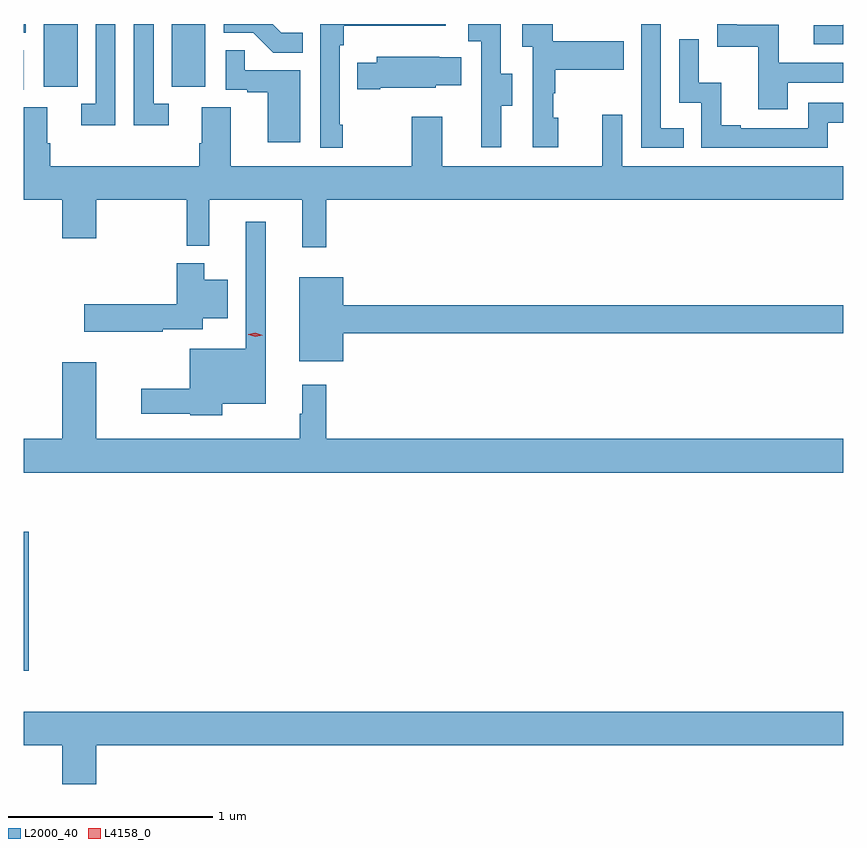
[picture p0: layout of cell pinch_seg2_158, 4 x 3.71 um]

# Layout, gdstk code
import gdstk
lib = gdstk.Library(unit=1e-6, precision=1e-09)
def R(c, l, rs):  # rectangles x0, y0, x1, y1
    for r in rs: c.add(gdstk.rectangle(r[:2], r[2:], *l))
def P(c, l, *ps):  # polygons
    for p in ps: c.add(gdstk.Polygon(p, *l))
L2000_40 = (2000, 40)
L4158_0 = (4158, 0)

pinch_seg2_158 = lib.new_cell('pinch_seg2_158')
R(pinch_seg2_158, L2000_40, [(1123.859,628.02,1123.883,628.7), (1123.859,630.855,1123.86,631.049), (1123.958,630.87,1124.122,631.177), (1124.582,630.87,1124.746,631.177), (1123.859,631.134,1123.869,631.177)])
P(pinch_seg2_158, L2000_40, [(1127.081,630.669),(1126.968,630.669),(1126.968,631.177),(1126.872,631.177),(1126.872,630.573),(1127.081,630.573)],
  [(1125.415,630.685),(1125.402,630.685),(1125.402,631.073),(1125.422,631.073),(1125.422,631.169),(1125.918,631.169),(1125.918,631.177),(1125.306,631.177),(1125.306,630.573),(1125.415,630.573)],
  [(1126.468,630.72),(1126.443,630.72),(1126.443,630.839),(1126.453,630.839),(1126.453,630.953),(1126.787,630.953),(1126.787,631.093),(1126.44,631.093),(1126.44,631.177),(1126.293,631.177),(1126.293,631.067),(1126.344,631.067),(1126.344,630.576),(1126.468,630.576)],
  [(1126.189,630.778),(1126.243,630.778),(1126.243,630.933),(1126.188,630.933),(1126.188,631.177),(1126.029,631.177),(1126.029,631.093),(1126.092,631.093),(1126.092,630.789),(1126.091,630.789),(1126.091,630.576),(1126.189,630.576)],
  [(1127.587,630.891),(1127.859,630.891),(1127.859,630.987),(1127.545,630.987),(1127.545,631.173),(1127.34,631.173),(1127.34,631.177),(1127.244,631.177),(1127.244,631.065),(1127.443,631.065),(1127.443,630.762),(1127.587,630.762)],
  [(1125.221,631.135),(1125.117,631.135),(1125.075,631.177),(1124.835,631.177),(1124.835,631.134),(1124.979,631.134),(1125.077,631.036),(1125.221,631.036)],
  [(1124.307,631.177),(1124.211,631.177),(1124.211,630.789),(1124.139,630.789),(1124.139,630.684),(1124.307,630.684)],
  [(1124.566,630.789),(1124.493,630.789),(1124.493,631.177),(1124.397,631.177),(1124.397,630.684),(1124.566,630.684)],
  [(1127.859,631.173),(1127.856,631.17),(1127.715,631.17),(1127.715,631.077),(1127.859,631.077)],
  [(1127.784,630.696),(1127.859,630.696),(1127.859,630.792),(1127.688,630.792),(1127.688,630.669),(1127.359,630.669),(1127.359,630.682),(1127.264,630.682),(1127.264,630.89),(1127.154,630.89),(1127.154,631.102),(1127.058,631.102),(1127.058,630.792),(1127.166,630.792),(1127.166,630.573),(1127.784,630.573)],
  [(1125.208,630.951),(1124.939,630.951),(1124.939,631.049),(1124.844,631.049),(1124.844,630.855),(1124.951,630.855),(1124.951,630.843),(1125.05,630.843),(1125.05,630.6),(1125.208,630.6)],
  [(1125.598,630.866),(1125.87,630.866),(1125.87,630.878),(1125.995,630.878),(1125.995,631.015),(1125.887,631.015),(1125.887,631.018),(1125.581,631.018),(1125.581,630.988),(1125.487,630.988),(1125.487,630.859),(1125.598,630.859)],
  [(1125.335,630.32),(1127.859,630.32),(1127.859,630.484),(1126.779,630.484),(1126.779,630.733),(1126.682,630.733),(1126.682,630.484),(1125.901,630.484),(1125.901,630.724),(1125.754,630.724),(1125.754,630.484),(1124.869,630.484),(1124.869,630.77),(1124.729,630.77),(1124.729,630.596),(1124.717,630.596),(1124.717,630.484),(1123.988,630.484),(1123.988,630.596),(1123.975,630.596),(1123.975,630.77),(1123.859,630.77),(1123.859,630.32),(1124.048,630.32),(1124.048,630.132),(1124.212,630.132),(1124.212,630.32),(1124.655,630.32),(1124.655,630.095),(1124.765,630.095),(1124.765,630.32),(1125.218,630.32),(1125.218,630.087),(1125.335,630.087)],
  [(1124.829,629.324),(1125.04,629.324),(1125.04,630.211),(1124.943,630.211),(1124.943,629.593),(1124.669,629.593),(1124.669,629.398),(1124.433,629.398),(1124.433,629.276),(1124.673,629.276),(1124.673,629.267),(1124.829,629.267)],
  [(1124.538,629.687),(1124.734,629.687),(1124.734,629.741),(1124.854,629.741),(1124.854,629.929),(1124.74,629.929),(1124.74,630.01),(1124.606,630.01),(1124.606,629.81),(1124.154,629.81),(1124.154,629.675),(1124.538,629.675)],
  [(1125.418,629.668),(1127.859,629.668),(1127.859,629.804),(1125.418,629.804),(1125.418,629.941),(1125.203,629.941),(1125.203,629.531),(1125.418,629.531)],
  [(1127.859,629.152),(1125.335,629.152),(1125.335,629.416),(1125.218,629.416),(1125.218,629.276),(1125.207,629.276),(1125.207,629.152),(1124.212,629.152),(1124.212,629.527),(1124.048,629.527),(1124.048,629.152),(1123.859,629.152),(1123.859,628.988),(1127.859,628.988)],
  [(1124.212,627.656),(1127.859,627.656),(1127.859,627.82),(1123.859,627.82),(1123.859,627.656),(1124.048,627.656),(1124.048,627.468),(1124.212,627.468)])
P(pinch_seg2_158, L4158_0, [(1124.989,629.65),(1124.954,629.661),(1124.954,629.662),(1124.954,629.662),(1124.99,629.67),(1125.025,629.658),(1125.025,629.658),(1125.025,629.658)])

lib.write_gds('pinch_seg2_158.gds')
